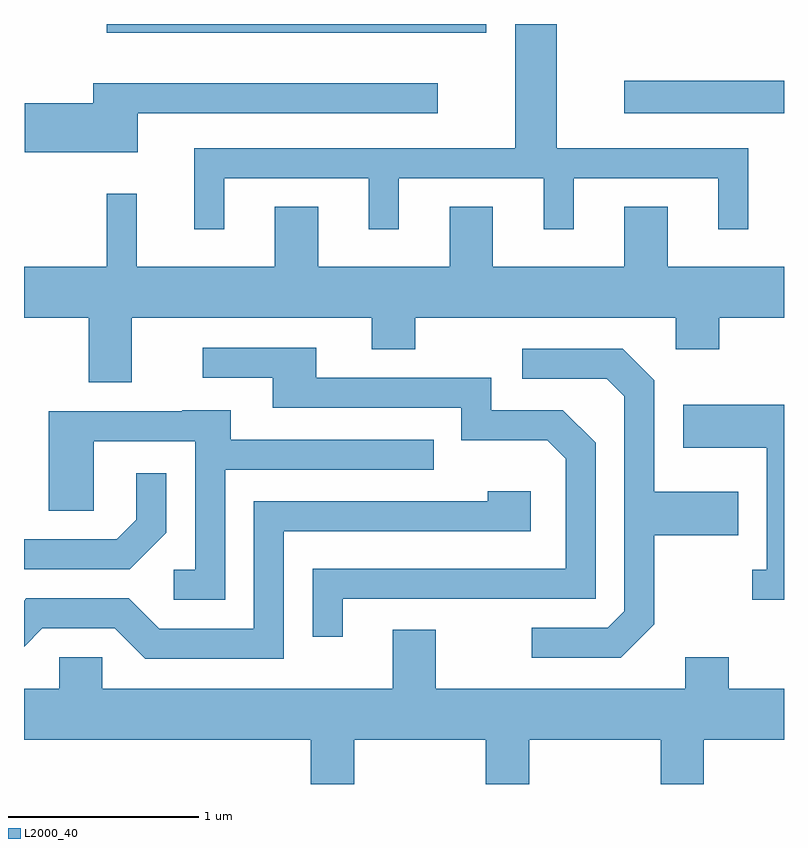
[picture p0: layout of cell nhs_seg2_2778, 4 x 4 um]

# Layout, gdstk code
import gdstk
lib = gdstk.Library(unit=1e-6, precision=1e-09)
def R(c, l, rs):  # rectangles x0, y0, x1, y1
    for r in rs: c.add(gdstk.rectangle(r[:2], r[2:], *l))
def P(c, l, *ps):  # polygons
    for p in ps: c.add(gdstk.Polygon(p, *l))
L2000_40 = (2000, 40)

nhs_seg2_2778 = lib.new_cell('nhs_seg2_2778')
R(nhs_seg2_2778, L2000_40, [(268.771,1109.331,269.611,1109.504), (266.046,1109.756,268.044,1109.802)])
P(nhs_seg2_2778, L2000_40, [(266.664,1108.991),(267.426,1108.991),(267.426,1108.723),(267.584,1108.723),(267.584,1108.991),(268.346,1108.991),(268.346,1108.723),(268.504,1108.723),(268.504,1108.991),(269.266,1108.991),(269.266,1108.723),(269.424,1108.723),(269.424,1109.149),(268.414,1109.149),(268.414,1109.802),(268.196,1109.802),(268.196,1109.149),(266.506,1109.149),(266.506,1108.723),(266.664,1108.723)],
  [(266.209,1109.331),(267.788,1109.331),(267.788,1109.489),(265.976,1109.489),(265.976,1109.384),(265.616,1109.384),(265.616,1109.126),(266.209,1109.126)],
  [(267.441,1108.091),(267.669,1108.091),(267.669,1108.256),(269.041,1108.256),(269.041,1108.091),(269.269,1108.091),(269.269,1108.256),(269.611,1108.256),(269.611,1108.524),(268.999,1108.524),(268.999,1108.839),(268.771,1108.839),(268.771,1108.524),(268.079,1108.524),(268.079,1108.839),(267.851,1108.839),(267.851,1108.524),(267.159,1108.524),(267.159,1108.839),(266.931,1108.839),(266.931,1108.524),(266.204,1108.524),(266.204,1108.908),(266.046,1108.908),(266.046,1108.524),(265.611,1108.524),(265.611,1108.256),(265.951,1108.256),(265.951,1107.916),(266.179,1107.916),(266.179,1108.256),(267.441,1108.256)],
  [(267.289,1106.776),(268.619,1106.776),(268.619,1107.597),(268.447,1107.769),(268.069,1107.769),(268.069,1107.939),(267.149,1107.939),(267.149,1108.099),(266.553,1108.099),(266.553,1107.941),(266.921,1107.941),(266.921,1107.781),(267.911,1107.781),(267.911,1107.611),(268.364,1107.611),(268.461,1107.514),(268.461,1106.934),(267.131,1106.934),(267.131,1106.578),(267.289,1106.578)],
  [(268.929,1106.644),(268.929,1107.111),(269.369,1107.111),(269.369,1107.339),(268.929,1107.339),(268.929,1107.927),(268.762,1108.094),(268.233,1108.094),(268.233,1107.936),(268.679,1107.936),(268.771,1107.844),(268.771,1106.712),(268.684,1106.624),(268.283,1106.624),(268.283,1106.466),(268.752,1106.466)],
  [(269.611,1107.799),(269.081,1107.799),(269.081,1107.571),(269.521,1107.571),(269.521,1106.929),(269.443,1106.929),(269.443,1106.771),(269.611,1106.771)],
  [(266.669,1107.456),(267.768,1107.456),(267.768,1107.614),(266.699,1107.614),(266.699,1107.769),(266.445,1107.769),(266.445,1107.764),(265.741,1107.764),(265.741,1107.241),(265.979,1107.241),(265.979,1107.606),(266.511,1107.606),(266.511,1106.929),(266.398,1106.929),(266.398,1106.771),(266.669,1106.771)],
  [(266.359,1107.124),(266.359,1107.438),(266.201,1107.438),(266.201,1107.192),(266.099,1107.089),(265.611,1107.089),(265.611,1106.931),(266.167,1106.931)],
  [(266.979,1107.131),(268.279,1107.131),(268.279,1107.344),(268.051,1107.344),(268.051,1107.289),(266.821,1107.289),(266.821,1106.619),(266.322,1106.619),(266.162,1106.779),(265.624,1106.779),(265.611,1106.766),(265.611,1106.525),(265.707,1106.621),(266.089,1106.621),(266.249,1106.461),(266.979,1106.461)],
  [(267.349,1106.036),(268.041,1106.036),(268.041,1105.802),(268.269,1105.802),(268.269,1106.036),(268.961,1106.036),(268.961,1105.802),(269.189,1105.802),(269.189,1106.036),(269.611,1106.036),(269.611,1106.304),(269.319,1106.304),(269.319,1106.469),(269.091,1106.469),(269.091,1106.304),(267.779,1106.304),(267.779,1106.614),(267.551,1106.614),(267.551,1106.304),(266.024,1106.304),(266.024,1106.469),(265.796,1106.469),(265.796,1106.304),(265.611,1106.304),(265.611,1106.036),(267.121,1106.036),(267.121,1105.802),(267.349,1105.802)])

lib.write_gds('nhs_seg2_2778.gds')
